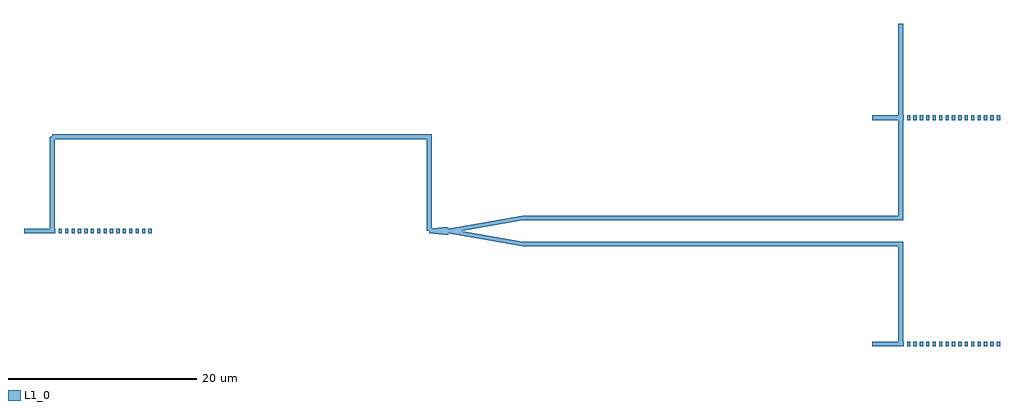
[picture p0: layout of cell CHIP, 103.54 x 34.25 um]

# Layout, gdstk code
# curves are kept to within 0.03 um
import gdstk
lib = gdstk.Library(unit=1e-6, precision=1e-09)
def R(c, l, rs):  # rectangles x0, y0, x1, y1
    for r in rs: c.add(gdstk.rectangle(r[:2], r[2:], *l))
def A(c, l, x, y, w, h, nx, ny, dx, dy):  # array of equal rectangles
    R(c, l, [(x+i*dx, y+j*dy, x+i*dx+w, y+j*dy+h) for i in range(nx) for j in range(ny)])
def P(c, l, *ps):  # polygons
    for p in ps: c.add(gdstk.Polygon(p, *l))
L1_0 = (1, 0)

chip = lib.new_cell('CHIP')
A(chip, L1_0, 90, -12.25, 0.34, 0.5, 16, 2, 0.68, 24)
A(chip, L1_0, 0, -0.25, 0.34, 0.5, 16, 1, 0.68, 0)
P(chip, L1_0, [(40,0.25),(42,0.4),(42,-0.4),(40,-0.25)])
chip.add(gdstk.FlexPath([(0,0),(0,10)], 0.5, ends="flush", simple_path=True, layer=1, datatype=0))  # L1_0
chip.add(gdstk.FlexPath([(90,12),(90,22)], 0.5, ends="flush", simple_path=True, layer=1, datatype=0))  # L1_0
chip.add(gdstk.FlexPath([(90,-12),(90,-2)], 0.5, ends="flush", simple_path=True, layer=1, datatype=0))  # L1_0
chip.add(gdstk.FlexPath([(42,0),(49.878,1.389)], 0.5, ends="flush", simple_path=True, layer=1, datatype=0))  # L1_0
chip.add(gdstk.FlexPath([(42,0),(49.878,-1.389)], 0.5, ends="flush", simple_path=True, layer=1, datatype=0))  # L1_0
chip.add(gdstk.FlexPath([(0,10),(40,10),(40,0)], 0.5, ends="flush", simple_path=True, layer=1, datatype=0))  # L1_0
chip.add(gdstk.FlexPath([(49.878,1.389),(90,1.389),(90,22)], 0.5, ends="flush", simple_path=True, layer=1, datatype=0))  # L1_0
chip.add(gdstk.FlexPath([(49.878,-1.389),(90,-1.389),(90,-2)], 0.5, ends="flush", simple_path=True, layer=1, datatype=0))  # L1_0
chip.add(gdstk.FlexPath([(-3,0),(0,0)], 0.5, ends="flush", simple_path=True, layer=1, datatype=0))  # L1_0
chip.add(gdstk.FlexPath([(87,12),(90,12)], 0.5, ends="flush", simple_path=True, layer=1, datatype=0))  # L1_0
chip.add(gdstk.FlexPath([(87,-12),(90,-12)], 0.5, ends="flush", simple_path=True, layer=1, datatype=0))  # L1_0

lib.write_gds('CHIP.gds')
